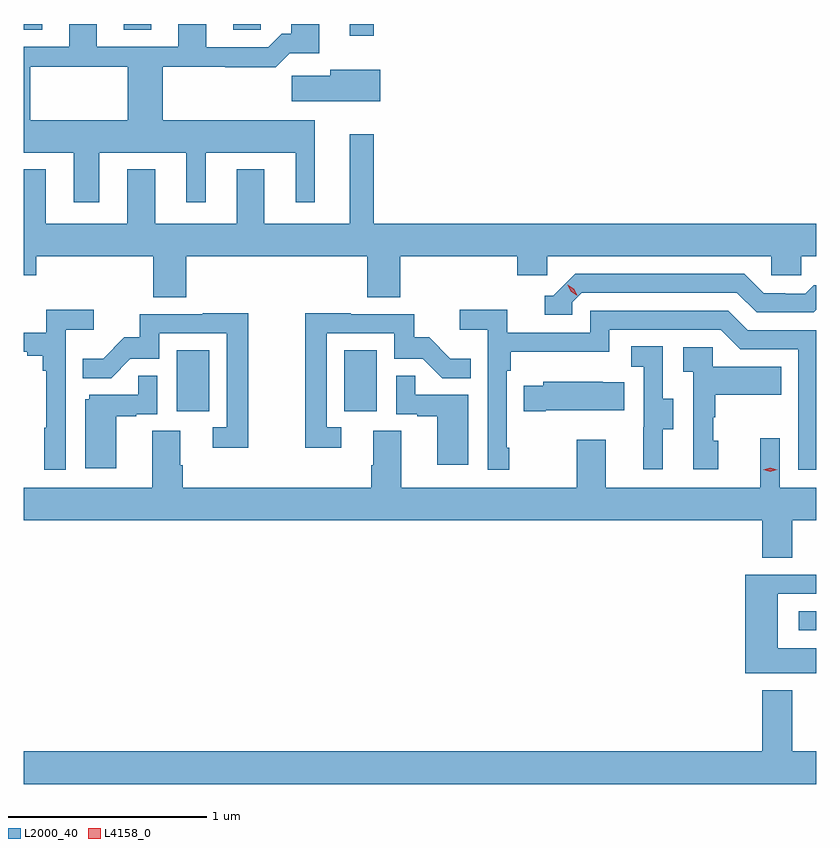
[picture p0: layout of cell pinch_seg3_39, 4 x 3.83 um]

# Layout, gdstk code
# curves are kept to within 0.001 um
import gdstk
lib = gdstk.Library(unit=1e-6, precision=1e-09)
def R(c, l, rs):  # rectangles x0, y0, x1, y1
    for r in rs: c.add(gdstk.rectangle(r[:2], r[2:], *l))
def P(c, l, *ps):  # polygons
    for p in ps: c.add(gdstk.Polygon(p, *l))
L2000_40 = (2000, 40)
L4158_0 = (4158, 0)

pinch_seg3_39 = lib.new_cell('pinch_seg3_39')
R(pinch_seg3_39, L2000_40, [(1107.117,741.651,1107.206,741.747), (1103.978,742.758,1104.142,743.065), (1104.824,742.758,1104.988,743.065), (1104.851,744.651,1104.973,744.711), (1103.206,744.682,1103.299,744.711), (1103.711,744.682,1103.851,744.711), (1104.263,744.682,1104.402,744.711)])
P(pinch_seg3_39, L2000_40, [(1103.459,744.062),(1103.459,743.811),(1103.587,743.811),(1103.587,744.062),(1104.026,744.062),(1104.026,743.811),(1104.124,743.811),(1104.124,744.062),(1104.578,744.062),(1104.578,743.811),(1104.676,743.811),(1104.676,744.226),(1103.909,744.226),(1103.909,744.496),(1104.223,744.496),(1104.223,744.494),(1104.479,744.494),(1104.548,744.563),(1104.697,744.563),(1104.697,744.711),(1104.557,744.711),(1104.557,744.661),(1104.508,744.661),(1104.441,744.594),(1104.127,744.594),(1104.127,744.711),(1103.987,744.711),(1103.987,744.597),(1103.575,744.597),(1103.575,744.711),(1103.435,744.711),(1103.435,744.597),(1103.206,744.597),(1103.206,744.226),(1103.239,744.226),(1103.239,744.496),(1103.731,744.496),(1103.731,744.226),(1103.206,744.226),(1103.206,744.062)],
  [(1105.006,744.481),(1104.752,744.481),(1104.752,744.449),(1104.558,744.449),(1104.558,744.32),(1105.006,744.32)],
  [(1104.026,743.54),(1104.941,743.54),(1104.941,743.332),(1105.106,743.332),(1105.106,743.54),(1105.697,743.54),(1105.697,743.442),(1105.848,743.442),(1105.848,743.54),(1106.979,743.54),(1106.979,743.442),(1107.129,743.442),(1107.129,743.54),(1107.206,743.54),(1107.206,743.704),(1104.973,743.704),(1104.973,744.154),(1104.851,744.154),(1104.851,743.704),(1104.421,743.704),(1104.421,743.977),(1104.281,743.977),(1104.281,743.704),(1103.869,743.704),(1103.869,743.977),(1103.729,743.977),(1103.729,743.704),(1103.317,743.704),(1103.317,743.977),(1103.206,743.977),(1103.206,743.442),(1103.27,743.442),(1103.27,743.54),(1103.861,743.54),(1103.861,743.332),(1104.026,743.332)],
  [(1105.974,743.307),(1106.022,743.355),(1106.805,743.355),(1106.904,743.256),(1107.193,743.256),(1107.206,743.269),(1107.206,743.392),(1107.193,743.392),(1107.151,743.349),(1107.048,743.349),(1107.048,743.352),(1106.941,743.352),(1106.842,743.451),(1105.989,743.451),(1105.878,743.34),(1105.835,743.34),(1105.835,743.244),(1105.974,743.244)],
  [(1103.418,743.168),(1103.56,743.168),(1103.56,743.27),(1103.321,743.27),(1103.321,743.154),(1103.206,743.154),(1103.206,743.057),(1103.225,743.057),(1103.225,743.038),(1103.302,743.038),(1103.302,742.961),(1103.321,742.961),(1103.321,742.673),(1103.31,742.673),(1103.31,742.461),(1103.418,742.461)],
  [(1105.657,742.573),(1105.644,742.573),(1105.644,742.961),(1105.664,742.961),(1105.664,743.057),(1106.16,743.057),(1106.16,743.169),(1106.724,743.169),(1106.823,743.07),(1107.114,743.07),(1107.114,742.461),(1107.206,742.461),(1107.206,743.166),(1106.86,743.166),(1106.761,743.265),(1106.064,743.265),(1106.064,743.154),(1105.646,743.154),(1105.646,743.27),(1105.407,743.27),(1105.407,743.168),(1105.548,743.168),(1105.548,742.461),(1105.657,742.461)],
  [(1104.34,743.252),(1104.109,743.252),(1104.109,743.247),(1103.791,743.247),(1103.791,743.13),(1103.714,743.13),(1103.607,743.023),(1103.503,743.023),(1103.503,742.924),(1103.647,742.924),(1103.745,743.022),(1103.889,743.022),(1103.889,743.151),(1104.231,743.151),(1104.231,742.677),(1104.159,742.677),(1104.159,742.572),(1104.34,742.572)],
  [(1104.808,742.677),(1104.735,742.677),(1104.735,743.151),(1105.077,743.151),(1105.077,743.022),(1105.221,743.022),(1105.319,742.924),(1105.463,742.924),(1105.463,743.023),(1105.359,743.023),(1105.252,743.13),(1105.176,743.13),(1105.176,743.247),(1104.857,743.247),(1104.857,743.252),(1104.627,743.252),(1104.627,742.572),(1104.808,742.572)],
  [(1106.431,742.666),(1106.485,742.666),(1106.485,742.821),(1106.43,742.821),(1106.43,743.084),(1106.271,743.084),(1106.271,742.981),(1106.334,742.981),(1106.334,742.677),(1106.333,742.677),(1106.333,742.464),(1106.431,742.464)],
  [(1106.71,742.608),(1106.685,742.608),(1106.685,742.727),(1106.695,742.727),(1106.695,742.841),(1107.029,742.841),(1107.029,742.981),(1106.682,742.981),(1106.682,743.079),(1106.535,743.079),(1106.535,742.955),(1106.586,742.955),(1106.586,742.464),(1106.71,742.464)],
  [(1105.45,742.839),(1105.181,742.839),(1105.181,742.937),(1105.086,742.937),(1105.086,742.743),(1105.193,742.743),(1105.193,742.731),(1105.292,742.731),(1105.292,742.488),(1105.45,742.488)],
  [(1103.674,742.731),(1103.774,742.731),(1103.774,742.743),(1103.88,742.743),(1103.88,742.937),(1103.785,742.937),(1103.785,742.839),(1103.538,742.839),(1103.538,742.818),(1103.516,742.818),(1103.516,742.47),(1103.674,742.47)],
  [(1105.84,742.763),(1106.237,742.763),(1106.237,742.903),(1106.129,742.903),(1106.129,742.906),(1105.827,742.906),(1105.827,742.885),(1105.729,742.885),(1105.729,742.756),(1105.84,742.756)],
  [(1107.085,742.208),(1107.206,742.208),(1107.206,742.372),(1107.021,742.372),(1107.021,742.621),(1106.924,742.621),(1106.924,742.372),(1106.143,742.372),(1106.143,742.612),(1105.996,742.612),(1105.996,742.372),(1105.111,742.372),(1105.111,742.658),(1104.971,742.658),(1104.971,742.484),(1104.959,742.484),(1104.959,742.372),(1104.008,742.372),(1104.008,742.484),(1103.995,742.484),(1103.995,742.658),(1103.855,742.658),(1103.855,742.372),(1103.206,742.372),(1103.206,742.208),(1106.933,742.208),(1106.933,742.018),(1107.085,742.018)],
  [(1107.206,741.562),(1107.01,741.562),(1107.01,741.837),(1107.206,741.837),(1107.206,741.933),(1106.846,741.933),(1106.846,741.434),(1107.206,741.434)],
  [(1107.206,741.04),(1107.085,741.04),(1107.085,741.349),(1106.933,741.349),(1106.933,741.04),(1103.206,741.04),(1103.206,740.876),(1107.206,740.876)])
P(pinch_seg3_39, L4158_0, [(1105.998,743.342),(1105.968,743.361),(1105.952,743.393),(1105.952,743.394),(1105.952,743.394),(1105.983,743.374),(1105.999,743.342),(1105.999,743.342)],
  [(1106.974,742.452),(1106.939,742.462),(1106.939,742.462),(1106.939,742.462),(1106.974,742.472),(1107.009,742.462),(1107.009,742.462),(1107.009,742.462)])

lib.write_gds('pinch_seg3_39.gds')
